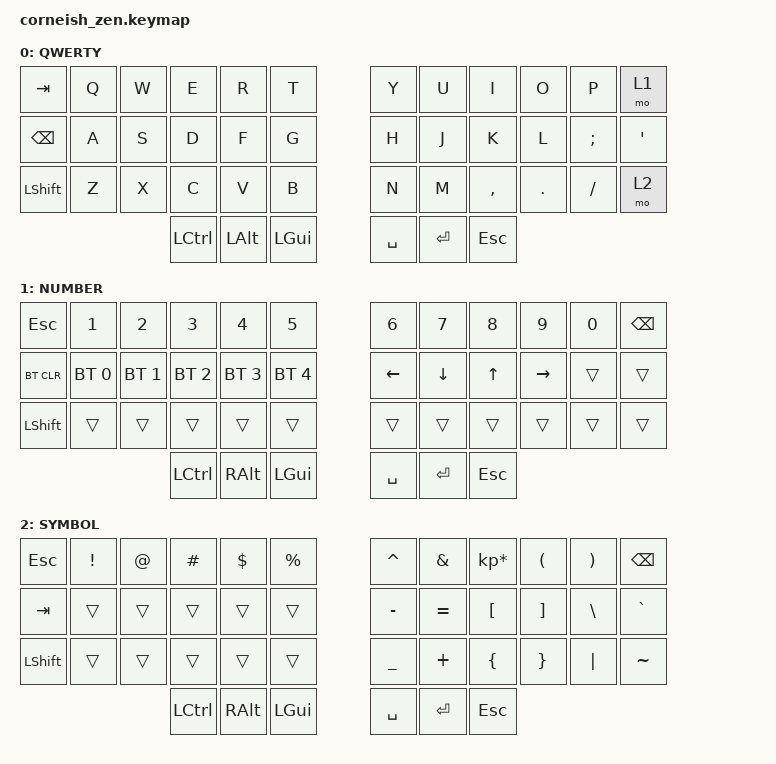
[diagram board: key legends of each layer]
#include <behaviors.dtsi>
#include <dt-bindings/zmk/keys.h>
#include <dt-bindings/zmk/bt.h>

/ {
  chosen {
    zmk,matrix_transform = &default_transform;
    //zmk,matrix_transform = &five_column_transform;
  };
};

/ {
        keymap {
                compatible = "zmk,keymap";

                default_layer {
                        label = "QWERTY";
// -----------------------------------------------------------------------------------------
// | TAB   |  Q  |  W  |  E  |  R  |  T  |   |  Y  |  U   |  I  |  O  |  P  |  LAYER UP   |
// | BKSP  |  A  |  S  |  D  |  F  |  G  |   |  H  |  J   |  K  |  L  |  ;  |      '      |
// | SHFT  |  Z  |  X  |  C  |  V  |  B  |   |  N  |  M   |  ,  |  .  |  /  | LAYER DOWN  |
//                    | CTRL | ALT | GUI |   | SPC | ENT  | ESC |
                        bindings = <
   &kp TAB   &kp Q &kp W &kp E &kp R &kp T   &kp Y &kp U  &kp I     &kp O   &kp P    &mo 1
   &kp BSPC &kp A &kp S &kp D &kp F &kp G   &kp H &kp J  &kp K     &kp L   &kp SEMI &kp SQT
   &kp LSHFT &kp Z &kp X &kp C &kp V &kp B   &kp N &kp M  &kp COMMA &kp DOT &kp FSLH &mo 2
                  &kp LCTRL &kp LALT &kp LGUI   &kp SPACE &kp RET &kp ESC
                        >;
                };
                lower_layer {
                        label = "NUMBER";
// -----------------------------------------------------------------------------------------
// |  ESC |  1  |  2  |  3  |  4  |  5  |   |  6  |  7  |  8  |  9  |  0  | BKSP |
// | BTCLR| BT1 | BT2 | BT3 | BT4 | BT5 |   | LFT | DWN |  UP | RGT |     |      |
// | SHFT |     |     |     |     |     |   |     |     |     |     |     |      |
//                    | CTRL| ALT | GUI |   | SPC | ENT | ESC |
                        bindings = <
   &kp ESC    &kp N1       &kp N2       &kp N3       &kp N4       &kp N5         &kp N6   &kp N7   &kp N8 &kp N9    &kp N0 &kp BSPC
   &bt BT_CLR &bt BT_SEL 0 &bt BT_SEL 1 &bt BT_SEL 2 &bt BT_SEL 3 &bt BT_SEL 4   &kp LEFT &kp DOWN &kp UP &kp RIGHT &trans &trans
   &kp LSHFT  &trans       &trans       &trans       &trans       &trans         &trans   &trans   &trans &trans    &trans &trans
                          	        &kp LCTRL &kp RALT &kp LGUI   &kp SPACE &kp RET &kp ESC
                        >;
                };

                raise_layer {
                        label = "SYMBOL";
// -----------------------------------------------------------------------------------------
// |  ESC |  !  |  @  |  #  |  $  |  %  |   |  ^  |  &  |  *  |  (  |  )  | BKSP |
// | TAB  |     |     |     |     |     |   |  -  |  =  |  [  |  ]  |  \  |  `   |
// | SHFT |     |     |     |     |     |   |  _  |  +  |  {  |  }  | "|" |  ~   |
//                   | CTRL | ALT | GUI |   | SPC | ENT | ESC |
                        bindings = <
   &kp ESC   &kp EXCL &kp AT &kp HASH &kp DLLR &kp PRCNT   &kp CARET &kp AMPS  &kp KP_MULTIPLY &kp LPAR &kp RPAR &kp BSPC
   &kp TAB   &trans   &trans &trans   &trans   &trans      &kp MINUS &kp EQUAL &kp LBKT        &kp RBKT &kp BSLH &kp GRAVE
   &kp LSHFT &trans   &trans &trans   &trans   &trans      &kp UNDER &kp PLUS  &kp LBRC        &kp RBRC &kp PIPE &kp TILDE
                    	     &kp LCTRL &kp RALT &kp LGUI   &kp SPACE &kp RET &kp ESC
                        >;
                };
        };
};
